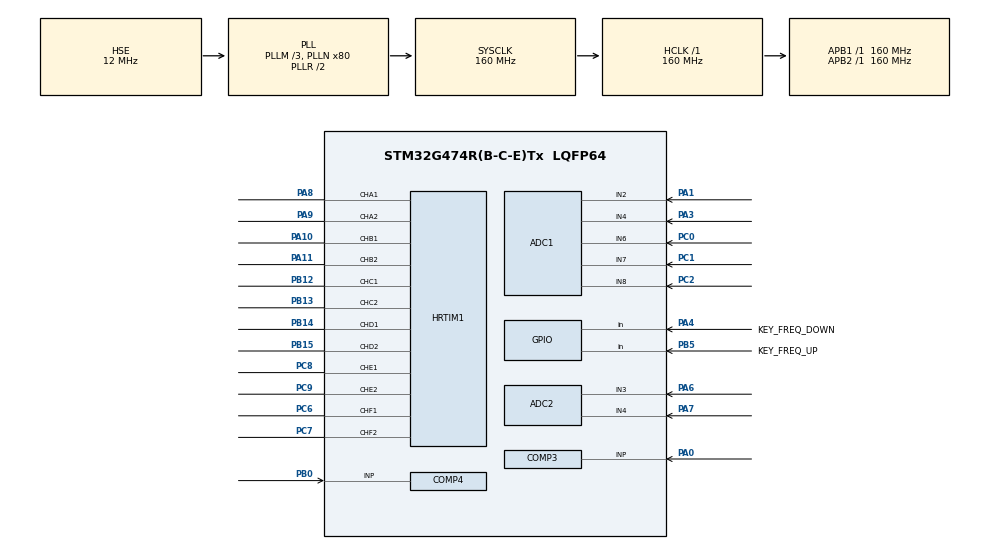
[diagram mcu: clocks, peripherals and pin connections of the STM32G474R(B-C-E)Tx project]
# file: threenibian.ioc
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ADC1.AWD1HighThreshold=4095
ADC1.AWD1ITMode=ENABLE
ADC1.AWD1LowThreshold=0
ADC1.Channel-12\#ChannelRegularConversion=ADC_CHANNEL_6
ADC1.Channel-13\#ChannelRegularConversion=ADC_CHANNEL_7
ADC1.Channel-15\#ChannelRegularConversion=ADC_CHANNEL_4
ADC1.Channel-16\#ChannelRegularConversion=ADC_CHANNEL_8
ADC1.Channel-17\#ChannelRegularConversion=ADC_CHANNEL_2
ADC1.Channel-9\#ChannelRegularConversion=ADC_CHANNEL_6
ADC1.DMAContinuousRequests=ENABLE
ADC1.EnableAnalogWatchDog1=true
ADC1.EnableAnalogWatchDog2=false
ADC1.EnableAnalogWatchDog3=false
ADC1.EnableRegularConversion=ENABLE
ADC1.ExternalTrigConv=ADC_EXTERNALTRIG_HRTIM_TRG1
ADC1.NbrOfConversion=6
ADC1.NbrOfConversionFlag=1
ADC1.OffsetNumber-12\#ChannelRegularConversion=ADC_OFFSET_NONE
ADC1.OffsetNumber-13\#ChannelRegularConversion=ADC_OFFSET_NONE
ADC1.OffsetNumber-15\#ChannelRegularConversion=ADC_OFFSET_NONE
ADC1.OffsetNumber-16\#ChannelRegularConversion=ADC_OFFSET_NONE
ADC1.OffsetNumber-17\#ChannelRegularConversion=ADC_OFFSET_NONE
ADC1.OffsetNumber-9\#ChannelRegularConversion=ADC_OFFSET_NONE
ADC1.Rank-12\#ChannelRegularConversion=4
ADC1.Rank-13\#ChannelRegularConversion=5
ADC1.Rank-15\#ChannelRegularConversion=1
ADC1.Rank-16\#ChannelRegularConversion=2
ADC1.Rank-17\#ChannelRegularConversion=3
ADC1.Rank-9\#ChannelRegularConversion=6
ADC1.SamplingTime-12\#ChannelRegularConversion=ADC_SAMPLETIME_47CYCLES_5
ADC1.SamplingTime-13\#ChannelRegularConversion=ADC_SAMPLETIME_47CYCLES_5
ADC1.SamplingTime-15\#ChannelRegularConversion=ADC_SAMPLETIME_47CYCLES_5
ADC1.SamplingTime-16\#ChannelRegularConversion=ADC_SAMPLETIME_47CYCLES_5
ADC1.SamplingTime-17\#ChannelRegularConversion=ADC_SAMPLETIME_47CYCLES_5
ADC1.SamplingTime-9\#ChannelRegularConversion=ADC_SAMPLETIME_47CYCLES_5
ADC1.WatchdogChannel=ADC_CHANNEL_4
ADC1.WatchdogMode=ADC_ANALOGWATCHDOG_SINGLE_REG
ADC1.master=1
ADC2.AWD1HighThreshold=4095
ADC2.AWD1ITMode=ENABLE
ADC2.AWD1LowThreshold=0
ADC2.Channel-2\#ChannelRegularConversion=ADC_CHANNEL_3
ADC2.Channel-3\#ChannelRegularConversion=ADC_CHANNEL_4
ADC2.DMAContinuousRequests=ENABLE
ADC2.EnableAnalogWatchDog1=true
ADC2.EnableAnalogWatchDog2=false
ADC2.EnableRegularConversion=ENABLE
ADC2.ExternalTrigConv=ADC_EXTERNALTRIG_HRTIM_TRG1
ADC2.NbrOfConversion=2
ADC2.NbrOfConversionFlag=1
ADC2.OffsetNumber-2\#ChannelRegularConversion=ADC_OFFSET_NONE
ADC2.OffsetNumber-3\#ChannelRegularConversion=ADC_OFFSET_NONE
ADC2.Rank-2\#ChannelRegularConversion=1
ADC2.Rank-3\#ChannelRegularConversion=2
ADC2.SamplingTime-2\#ChannelRegularConversion=ADC_SAMPLETIME_47CYCLES_5
ADC2.SamplingTime-3\#ChannelRegularConversion=ADC_SAMPLETIME_47CYCLES_5
ADC2.WatchdogMode=ADC_ANALOGWATCHDOG_ALL_REG
DAC1.DAC_SampleAndHold-DAC_OUT1_Int=DAC_SAMPLEANDHOLD_DISABLE
Dma.ADC1.0.Direction=DMA_PERIPH_TO_MEMORY
Dma.ADC1.0.EventEnable=DISABLE
Dma.ADC1.0.Instance=DMA1_Channel3
Dma.ADC1.0.MemDataAlignment=DMA_MDATAALIGN_HALFWORD
Dma.ADC1.0.MemInc=DMA_MINC_ENABLE
Dma.ADC1.0.Mode=DMA_CIRCULAR
Dma.ADC1.0.PeriphDataAlignment=DMA_PDATAALIGN_HALFWORD
Dma.ADC1.0.PeriphInc=DMA_PINC_DISABLE
Dma.ADC1.0.Polarity=HAL_DMAMUX_REQ_GEN_RISING
Dma.ADC1.0.Priority=DMA_PRIORITY_LOW
Dma.ADC1.0.RequestNumber=1
Dma.ADC1.0.SignalID=NONE
Dma.ADC1.0.SyncEnable=DISABLE
Dma.ADC1.0.SyncPolarity=HAL_DMAMUX_SYNC_NO_EVENT
Dma.ADC1.0.SyncRequestNumber=1
Dma.ADC1.0.SyncSignalID=NONE
Dma.ADC2.1.Direction=DMA_PERIPH_TO_MEMORY
Dma.ADC2.1.EventEnable=DISABLE
Dma.ADC2.1.Instance=DMA1_Channel4
Dma.ADC2.1.MemDataAlignment=DMA_MDATAALIGN_HALFWORD
Dma.ADC2.1.MemInc=DMA_MINC_ENABLE
Dma.ADC2.1.Mode=DMA_CIRCULAR
Dma.ADC2.1.PeriphDataAlignment=DMA_PDATAALIGN_HALFWORD
Dma.ADC2.1.PeriphInc=DMA_PINC_DISABLE
Dma.ADC2.1.Polarity=HAL_DMAMUX_REQ_GEN_RISING
Dma.ADC2.1.Priority=DMA_PRIORITY_LOW
Dma.ADC2.1.RequestNumber=1
Dma.ADC2.1.SignalID=NONE
Dma.ADC2.1.SyncEnable=DISABLE
Dma.ADC2.1.SyncPolarity=HAL_DMAMUX_SYNC_NO_EVENT
Dma.ADC2.1.SyncRequestNumber=1
Dma.ADC2.1.SyncSignalID=NONE
Dma.Request0=ADC1
Dma.Request1=ADC2
HRTIM1.ADCTrigger1_Source1=HRTIM_ADCTRIGGEREVENT13_TIMERF_RESET
HRTIM1.ADCTrigger_Id1=HRTIM_ADCTRIGGER_1
HRTIM1.CompareUnit1-MasterTimer=HRTIM_COMPAREUNIT_1
HRTIM1.CompareUnit1-Output_TA1TA2=HRTIM_COMPAREUNIT_1
HRTIM1.CompareUnit1-Output_TB1TB2=HRTIM_COMPAREUNIT_1
HRTIM1.CompareUnit1-Output_TC1TC2=HRTIM_COMPAREUNIT_1
HRTIM1.CompareUnit1-Output_TD1TD2=HRTIM_COMPAREUNIT_1
HRTIM1.CompareUnit1-Output_TE1TE2=HRTIM_COMPAREUNIT_1
HRTIM1.CompareUnit1-Output_TF1TF2=HRTIM_COMPAREUNIT_1
HRTIM1.CompareUnit2-MasterTimer=HRTIM_COMPAREUNIT_2
HRTIM1.CompareUnit3-MasterTimer=HRTIM_COMPAREUNIT_3
HRTIM1.CompareUnit4-MasterTimer=HRTIM_COMPAREUNIT_4
HRTIM1.CompareUnit4-Output_TE1TE2=__NULL
HRTIM1.CompareValue1-MasterTimer=17800
HRTIM1.CompareValue1-Output_TA1TA2=8000
HRTIM1.CompareValue1-Output_TB1TB2=8000
HRTIM1.CompareValue1-Output_TC1TC2=8000
HRTIM1.CompareValue1-Output_TD1TD2=8000
HRTIM1.CompareValue1-Output_TE1TE2=12800
HRTIM1.CompareValue1-Output_TF1TF2=12800
HRTIM1.CompareValue2-MasterTimer=15800
HRTIM1.CompareValue3-MasterTimer=22000
HRTIM1.CompareValue4-MasterTimer=28000
HRTIM1.DeadTimeInsertion-Output_TA1TA2=HRTIM_TIMDEADTIMEINSERTION_ENABLED
HRTIM1.DeadTimeInsertion-Output_TB1TB2=HRTIM_TIMDEADTIMEINSERTION_ENABLED
HRTIM1.DeadTimeInsertion-Output_TC1TC2=HRTIM_TIMDEADTIMEINSERTION_ENABLED
HRTIM1.DeadTimeInsertion-Output_TD1TD2=HRTIM_TIMDEADTIMEINSERTION_ENABLED
HRTIM1.DeadTimeInsertion-Output_TE1TE2=HRTIM_TIMDEADTIMEINSERTION_ENABLED
HRTIM1.DeadTimeInsertion-Output_TF1TF2=HRTIM_TIMDEADTIMEINSERTION_ENABLED
HRTIM1.Deadtimeconfig-Output_TA1TA2=HRTIM_TIMERINDEX_TIMER_A
HRTIM1.FallingValue-Output_TA1TA2=192
HRTIM1.FallingValue-Output_TB1TB2=192
HRTIM1.FallingValue-Output_TC1TC2=192
HRTIM1.FallingValue-Output_TD1TD2=150
HRTIM1.FallingValue-Output_TE1TE2=192
HRTIM1.FallingValue-Output_TF1TF2=192
HRTIM1.FaultEnable_Source1-Output_TA1TA2=HRTIM_TIMFAULTENABLE_NONE
HRTIM1.Fault_Line1=HRTIM_FAULT_1
HRTIM1.Fault_Line2=__NULL
HRTIM1.HRTIMInterruptResquests1=HRTIM_IT_SYSFLT
HRTIM1.NumberADCTriggerSource1=1
HRTIM1.NumberFaultEnable-Output_TA1TA2=2
HRTIM1.NumberResetSource1-Output_TA1TA2=1
HRTIM1.NumberResetSource1-Output_TB1TB2=1
HRTIM1.NumberResetSource1-Output_TC1TC2=1
HRTIM1.NumberResetSource1-Output_TD1TD2=1
HRTIM1.NumberResetSource1-Output_TE1TE2=1
HRTIM1.NumberResetSource1-Output_TF1TF2=1
HRTIM1.NumberResetSource2_TA=0
HRTIM1.NumberResetSource2_TB=0
HRTIM1.NumberResetSource2_TE=0
HRTIM1.NumberResetTrigger-Output_TA1TA2=1
HRTIM1.NumberResetTrigger-Output_TB1TB2=1
HRTIM1.NumberResetTrigger-Output_TC1TC2=1
HRTIM1.NumberSetSource1-Output_TA1TA2=1
HRTIM1.NumberSetSource1-Output_TB1TB2=1
HRTIM1.NumberSetSource1-Output_TC1TC2=1
HRTIM1.NumberSetSource1-Output_TD1TD2=1
HRTIM1.NumberSetSource1-Output_TE1TE2=1
HRTIM1.NumberSetSource1-Output_TF1TF2=1
HRTIM1.NumberSetSource2_TA=0
HRTIM1.NumberSetSource2_TB=0
HRTIM1.NumberSetSource2_TE=0
HRTIM1.NumberUpdateTrigger-Output_TA1TA2=1
HRTIM1.NumberUpdateTrigger-Output_TB1TB2=1
HRTIM1.NumberUpdateTrigger-Output_TC1TC2=1
HRTIM1.NumberUpdateTrigger-Output_TD1TD2=1
HRTIM1.NumberUpdateTrigger-Output_TE1TE2=1
HRTIM1.NumberUpdateTrigger-Output_TF1TF2=1
HRTIM1.Periode_MASTER=32000
HRTIM1.Periode_TA=16000
HRTIM1.Periode_TB=16000
HRTIM1.Periode_TC=16000
HRTIM1.Periode_TD=16000
HRTIM1.Periode_TE=16000
HRTIM1.Periode_TF=16000
HRTIM1.Polarity2-Output_TE1TE2=HRTIM_OUTPUTPOLARITY_HIGH
HRTIM1.PreloadEnable-MasterTimer=HRTIM_PRELOAD_ENABLED
HRTIM1.PreloadEnable-Output_TA1TA2=HRTIM_PRELOAD_ENABLED
HRTIM1.PreloadEnable-Output_TB1TB2=HRTIM_PRELOAD_ENABLED
HRTIM1.PreloadEnable-Output_TC1TC2=HRTIM_PRELOAD_ENABLED
HRTIM1.PreloadEnable-Output_TD1TD2=HRTIM_PRELOAD_ENABLED
HRTIM1.PreloadEnable-Output_TE1TE2=HRTIM_PRELOAD_ENABLED
HRTIM1.PreloadEnable-Output_TF1TF2=HRTIM_PRELOAD_ENABLED
HRTIM1.PrescalerDead-Output_TA1TA2=HRTIM_TIMDEADTIME_PRESCALERRATIO_MUL4
HRTIM1.PrescalerDead-Output_TB1TB2=HRTIM_TIMDEADTIME_PRESCALERRATIO_MUL4
HRTIM1.PrescalerDead-Output_TC1TC2=HRTIM_TIMDEADTIME_PRESCALERRATIO_MUL4
HRTIM1.PrescalerDead-Output_TD1TD2=HRTIM_TIMDEADTIME_PRESCALERRATIO_MUL4
HRTIM1.PrescalerDead-Output_TE1TE2=HRTIM_TIMDEADTIME_PRESCALERRATIO_MUL4
HRTIM1.PrescalerDead-Output_TF1TF2=HRTIM_TIMDEADTIME_PRESCALERRATIO_MUL4
HRTIM1.PrescalerRatio_MASTER=HRTIM_PRESCALERRATIO_MUL4
HRTIM1.PrescalerRatio_TA=HRTIM_PRESCALERRATIO_MUL4
HRTIM1.PrescalerRatio_TB=HRTIM_PRESCALERRATIO_MUL4
HRTIM1.PrescalerRatio_TC=HRTIM_PRESCALERRATIO_MUL4
HRTIM1.PrescalerRatio_TD=HRTIM_PRESCALERRATIO_MUL4
HRTIM1.PrescalerRatio_TE=HRTIM_PRESCALERRATIO_MUL4
HRTIM1.PrescalerRatio_TF=HRTIM_PRESCALERRATIO_MUL4
HRTIM1.RepetitionCounter-MasterTimer=0
HRTIM1.RepetitionUpdate-MasterTimer=HRTIM_UPDATEONREPETITION_ENABLED
HRTIM1.RepetitionUpdate-Output_TA1TA2=HRTIM_UPDATEONREPETITION_ENABLED
HRTIM1.RepetitionUpdate-Output_TB1TB2=HRTIM_UPDATEONREPETITION_ENABLED
HRTIM1.RepetitionUpdate-Output_TC1TC2=HRTIM_UPDATEONREPETITION_ENABLED
HRTIM1.ResetOutput1_Source1-Output_TA1TA2=HRTIM_OUTPUTRESET_TIMCMP1
HRTIM1.ResetOutput1_Source1-Output_TB1TB2=HRTIM_OUTPUTRESET_TIMCMP1
HRTIM1.ResetOutput1_Source1-Output_TC1TC2=HRTIM_OUTPUTRESET_TIMCMP1
HRTIM1.ResetOutput1_Source1-Output_TD1TD2=HRTIM_OUTPUTRESET_TIMCMP1
HRTIM1.ResetOutput1_Source1-Output_TE1TE2=HRTIM_OUTPUTRESET_TIMCMP1
HRTIM1.ResetOutput1_Source1-Output_TF1TF2=HRTIM_OUTPUTRESET_TIMCMP1
HRTIM1.ResetTrigger1-Output_TA1TA2=HRTIM_TIMRESETTRIGGER_MASTER_PER
HRTIM1.ResetTrigger1-Output_TB1TB2=HRTIM_TIMRESETTRIGGER_MASTER_PER
HRTIM1.ResetTrigger1-Output_TC1TC2=HRTIM_TIMRESETTRIGGER_MASTER_PER
HRTIM1.RisingValue-Output_TA1TA2=192
HRTIM1.RisingValue-Output_TB1TB2=192
HRTIM1.RisingValue-Output_TC1TC2=192
HRTIM1.RisingValue-Output_TD1TD2=150
HRTIM1.RisingValue-Output_TE1TE2=192
HRTIM1.RisingValue-Output_TF1TF2=192
HRTIM1.SetOutput1_Source1-Output_TA1TA2=HRTIM_OUTPUTSET_TIMCMP1
HRTIM1.SetOutput1_Source1-Output_TB1TB2=HRTIM_OUTPUTSET_TIMCMP1
HRTIM1.SetOutput1_Source1-Output_TC1TC2=HRTIM_OUTPUTSET_TIMCMP1
HRTIM1.SetOutput1_Source1-Output_TD1TD2=HRTIM_OUTPUTSET_TIMCMP1
HRTIM1.SetOutput1_Source1-Output_TE1TE2=HRTIM_OUTPUTSET_TIMCMP1
HRTIM1.SetOutput1_Source1-Output_TF1TF2=HRTIM_OUTPUTSET_TIMCMP1
HRTIM1.UpDownMode-Output_TA1TA2=HRTIM_TIMERUPDOWNMODE_UPDOWN
HRTIM1.UpDownMode-Output_TB1TB2=HRTIM_TIMERUPDOWNMODE_UPDOWN
HRTIM1.UpDownMode-Output_TC1TC2=HRTIM_TIMERUPDOWNMODE_UPDOWN
HRTIM1.UpDownMode-Output_TD1TD2=HRTIM_TIMERUPDOWNMODE_UPDOWN
HRTIM1.UpDownMode-Output_TE1TE2=HRTIM_TIMERUPDOWNMODE_UPDOWN
HRTIM1.UpDownMode-Output_TF1TF2=HRTIM_TIMERUPDOWNMODE_UPDOWN
HRTIM1.UpdateTrigger1-Output_TA1TA2=HRTIM_TIMUPDATETRIGGER_MASTER
HRTIM1.UpdateTrigger1-Output_TB1TB2=HRTIM_TIMUPDATETRIGGER_MASTER
HRTIM1.UpdateTrigger1-Output_TC1TC2=HRTIM_TIMUPDATETRIGGER_MASTER
HRTIM1.UpdateTrigger1-Output_TD1TD2=HRTIM_TIMUPDATETRIGGER_MASTER
HRTIM1.UpdateTrigger1-Output_TE1TE2=HRTIM_TIMUPDATETRIGGER_MASTER
HRTIM1.UpdateTrigger1-Output_TF1TF2=HRTIM_TIMUPDATETRIGGER_MASTER
Mcu.Family=STM32G4
Mcu.Name=STM32G474R(B-C-E)Tx
Mcu.Package=LQFP64
NVIC.ADC1_2_IRQn=true\:0\:0\:false\:false\:true\:true\:true\:true
NVIC.DMA1_Channel3_IRQn=true\:1\:0\:false\:false\:true\:false\:true\:true
NVIC.PriorityGroup=NVIC_PRIORITYGROUP_4
NVIC.TIM1_BRK_TIM15_IRQn=true\:0\:0\:false\:false\:true\:true\:true\:true
NVIC.TIM2_IRQn=true\:15\:0\:false\:false\:true\:false\:true\:true
NVIC.TimeBase=TIM2_IRQn
NVIC.TimeBaseIP=TIM2
PA0.Signal=SharedAnalog_PA0
PA1.Mode=IN2-Single-Ended
PA1.Signal=ADC1_IN2
PA10.Mode=Output_TB1TB2
PA10.Signal=HRTIM1_CHB1
PA11.Mode=Output_TB1TB2
PA11.Signal=HRTIM1_CHB2
PA3.Mode=IN4-Single-Ended
PA3.Signal=ADC1_IN4
PA4.GPIO_Label=KEY_FREQ_DOWN
PA4.GPIO_PuPd=GPIO_PULLUP
PA4.Signal=GPIO_Input
PA6.Mode=IN3-Single-Ended
PA6.Signal=ADC2_IN3
PA7.Mode=IN4-Single-Ended
PA7.Signal=ADC2_IN4
PA8.Mode=Output_TA1TA2
PA8.Signal=HRTIM1_CHA1
PA9.Mode=Output_TA1TA2
PA9.Signal=HRTIM1_CHA2
PB0.Signal=SharedAnalog_PB0
PB12.Mode=Output_TC1TC2
PB12.Signal=HRTIM1_CHC1
PB13.Mode=Output_TC1TC2
PB13.Signal=HRTIM1_CHC2
PB14.Mode=Output_TD1TD2
PB14.Signal=HRTIM1_CHD1
PB15.Mode=Output_TD1TD2
PB15.Signal=HRTIM1_CHD2
PB5.GPIO_Label=KEY_FREQ_UP
PB5.GPIO_PuPd=GPIO_PULLUP
PB5.Signal=GPIO_Input
PC0.Mode=IN6-Single-Ended
PC0.Signal=ADC1_IN6
PC1.Mode=IN7-Single-Ended
PC1.Signal=ADC1_IN7
PC14-OSC32_IN.Mode=LSE-External-Oscillator
PC14-OSC32_IN.Signal=RCC_OSC32_IN
PC15-OSC32_OUT.Mode=LSE-External-Oscillator
PC15-OSC32_OUT.Signal=RCC_OSC32_OUT
PC2.Mode=IN8-Single-Ended
PC2.Signal=ADC1_IN8
PC6.Mode=Output_TF1TF2
PC6.Signal=HRTIM1_CHF1
PC7.Mode=Output_TF1TF2
PC7.Signal=HRTIM1_CHF2
PC8.Mode=Output_TE1TE2
PC8.Signal=HRTIM1_CHE1
PC9.Mode=Output_TE1TE2
PC9.Signal=HRTIM1_CHE2
PF0-OSC_IN.Mode=HSE-External-Oscillator
PF0-OSC_IN.Signal=RCC_OSC_IN
PF1-OSC_OUT.Mode=HSE-External-Oscillator
PF1-OSC_OUT.Signal=RCC_OSC_OUT
ProjectManager.HeapSize=0x200
ProjectManager.StackSize=0x400
ProjectManager.TargetToolchain=CMake
RCC.ADC12Freq_Value=160000000
RCC.ADC345Freq_Value=160000000
RCC.AHBFreq_Value=160000000
RCC.APB1Freq_Value=160000000
RCC.APB1TimFreq_Value=160000000
RCC.APB2Freq_Value=160000000
RCC.APB2TimFreq_Value=160000000
RCC.CortexFreq_Value=160000000
RCC.EXTERNAL_CLOCK_VALUE=12288000
RCC.HCLKFreq_Value=160000000
RCC.HSE_VALUE=12000000
RCC.HSI48_VALUE=48000000
RCC.HSI_VALUE=16000000
RCC.PLLM=RCC_PLLM_DIV3
RCC.PLLN=80
RCC.PLLSourceVirtual=RCC_PLLSOURCE_HSE
RCC.SYSCLKFreq_VALUE=160000000
RCC.SYSCLKSource=RCC_SYSCLKSOURCE_PLLCLK
RCC.USBFreq_Value=160000000
RCC.VCOOutputFreq_Value=320000000
SH.SharedAnalog_PA0.0=COMP3_INP,INP
SH.SharedAnalog_PB0.0=COMP4_INP,INP
STMicroelectronics.X-CUBE-ALGOBUILD.1.3.0.LibraryCcDSPOoLibraryJjDSPOoLibrary=true
TIM1.PeriodNoDither=1000
TIM1.Prescaler=8
VP_COMP3_VS_DAC1OUT1.Mode=INM_DAC1OUT1
VP_COMP4_VS_VREFINT34.Mode=VREFINT_34
VP_CORDIC_VS_CORDIC.Mode=CORDIC_Activate
VP_DAC1_VS_DACI1.Mode=DAC_OUT1_Int
VP_DAC2_VS_DACI1.Mode=DAC_OUT1_Int
VP_DAC3_VS_DACI1.Mode=DAC_OUT1_Int
VP_HRTIM1_VS_hrtimMasterTimerNoOutput.Mode=MasterTimer
VP_STMicroelectronics.X-CUBE-ALGOBUILD_VS_DSPOoLibraryJjLibrary_1.3.0_1.3.0.Mode=DSPOoLibraryJjLibrary
VP_SYS_VS_DBSignals.Mode=DisableDeadBatterySignals
VP_SYS_VS_tim2.Mode=TIM2
VP_SYS_V_VREFBUF.Mode=VREFBUFOFFMode
VP_TIM1_VS_ClockSourceINT.Mode=Internal
board=custom

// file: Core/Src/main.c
/* USER CODE BEGIN Header */
/**
  ******************************************************************************
  * @file           : main.c
  * @brief          : Main program body
  ******************************************************************************
  * @attention
  *
  * Copyright (c) 2026 STMicroelectronics.
  * All rights reserved.
  *
  * This software is licensed under terms that can be found in the LICENSE file
  * in the root directory of this software component.
  * If no LICENSE file comes with this software, it is provided AS-IS.
  *
  ******************************************************************************
  */
/* USER CODE END Header */
#include "main.h"
#include "adc.h"
#include "comp.h"
#include "cordic.h"
#include "dac.h"
#include "dma.h"
#include "hrtim.h"
#include "tim.h"
#include "gpio.h"

/* USER CODE BEGIN Includes */
#include <math.h>

#include "pfc_adc.h"
#include "pfc_app.h"
#include "inverter_adc.h"
#include "inverter_adc_watchdog.h"
#include "inverter_control.h"
/* USER CODE END Includes */

void SystemClock_Config(void);

/* USER CODE BEGIN 0 */
float Average_Update(float new_value)
{
  static uint64_t sample_count = 0U;
  static double average = 0.0;

  sample_count++;

  average += ((double)new_value - average) /
             (double)sample_count;

  return (float)average;
}
float GetVoltageRms(float voltage_v)
{
  static float sum = 0.0f;
  static float rms = 0.0f;
  static uint16_t count = 0U;

  sum += voltage_v * voltage_v;
  count++;

  if (count >= 400U) {
    rms = sqrtf(sum / 400.0f);
    sum = 0.0f;
    count = 0U;
  }

  return rms;
}
float input_voltage_rms_test;
float average_value_v = 0.0f;
float average_value_i = 0.0f;

/**
 * @brief 逆变输出频率切换状态
 */
typedef enum
{
    INVERTER_FREQ_SWITCH_IDLE = 0U,
    INVERTER_FREQ_SWITCH_WAIT_STOP
} Inverter_FrequencySwitchStateTypeDef;

/** 最近一次频率切换执行结果，供调试器观察。 */
volatile HAL_StatusTypeDef
    inverter_frequency_switch_status = HAL_OK;

/**
 * @brief          检测PA4按键是否产生一次有效按下
 * @note           PA4内部上拉，按键另一端接GND，低电平表示按下。
 * @retval         1 检测到一次新的按下
 * @retval         0 没有新的按下
 */
static uint8_t KEY_FrequencyToggle_IsPressed(void)
{
    static GPIO_PinState last_raw_state = GPIO_PIN_SET;
    static GPIO_PinState stable_state = GPIO_PIN_SET;
    static uint32_t debounce_start_tick = 0U;
    GPIO_PinState current_state;

    current_state = HAL_GPIO_ReadPin(
        KEY_FREQ_DOWN_GPIO_Port,
        KEY_FREQ_DOWN_Pin);

    if (current_state != last_raw_state) {
        last_raw_state = current_state;
        debounce_start_tick = HAL_GetTick();
    }

    if ((HAL_GetTick() - debounce_start_tick) >= 20U) {
        if (current_state != stable_state) {
            stable_state = current_state;

            if (stable_state == GPIO_PIN_RESET) {
                return 1U;
            }
        }
    }

    return 0U;
}

/* USER CODE END 0 */

int main(void)
{

  /* MCU Configuration--------------------------------------------------------*/

  /* Reset of all peripherals, Initializes the Flash interface and the Systick. */
  HAL_Init();

  /* Configure the system clock */
  SystemClock_Config();

  /* Initialize all configured peripherals */
  MX_GPIO_Init();
  MX_DMA_Init();
  MX_ADC2_Init();
  MX_HRTIM1_Init();
  MX_COMP3_Init();
  MX_DAC1_Init();
  MX_ADC1_Init();
  MX_COMP4_Init();
  MX_DAC2_Init();
  MX_DAC3_Init();
  MX_TIM1_Init();
  MX_CORDIC_Init();
  /* USER CODE BEGIN 2 */
  HAL_Delay(2000);

  /* 任何ADC采样和校准开始前，先强制关闭三相逆变六路功率输出。 */
  Inverter_DPWM_Disable();

  if (Inverter_App_Init(pfc_adc_state.dma.sample) != HAL_OK) {
    Error_Handler();
  }

   /*
    * 只启动ADC1 DMA和HRTIM采样时基。
    * PFC控制器、PFC启动请求以及全部功率输出此时均未启用。
    */
   if (PFC_App_StartSamplingForCalibration() != HAL_OK) {
     (void)Inverter_ADC_Stop();
     Error_Handler();
   }

   /* 只在本次上电启动阶段校准v1、v2、a1、a2四路零点。 */
   if (Inverter_ADC_WaitForZeroCalibration(
           INVERTER_ADC_ZERO_CALIB_TIMEOUT_MS) != HAL_OK) {
     (void)PFC_ADC_Stop();
     (void)Inverter_ADC_Stop();
     Error_Handler();
   }

   /* 停止ADC2后写入a1、a2动态保护阈值，再恢复采样和看门狗。 */
   if (Inverter_ADC_Stop() != HAL_OK) {
     (void)PFC_ADC_Stop();
     Error_Handler();
   }

   if (Inverter_ADC_Watchdog_Init() != HAL_OK) {
     (void)PFC_ADC_Stop();
     Error_Handler();
   }

   if (Inverter_ADC_Start() != HAL_OK) {
     (void)PFC_ADC_Stop();
     Error_Handler();
   }

   /* 四路校准及逆变保护完成后，才正式初始化PFC。 */
   if (PFC_App_Init() != HAL_OK) {
     (void)PFC_ADC_Stop();
     (void)Inverter_ADC_Stop();
     Error_Handler();
   }

   if (Inverter_Control_Init() != HAL_OK) {
     (void)Inverter_ADC_Stop();
     Error_Handler();
   }

  /* USER CODE END 2 */

  /* Infinite loop */
  while (1)
  {

    /* USER CODE BEGIN 3 */

    // average_value_i = Average_Update(inverter_adc_state.measurement.current_2_a );
    // average_value_v = Average_Update(input_voltage_rms_test);
    PFC_App_Loop();
      if (KEY_FrequencyToggle_IsPressed() != 0U) {
          Inverter_Control_RequestFrequencyToggle();
      }
    Inverter_Control_Service(pfc_adc_state.measurement.bus_voltage_v);
    // input_voltage_rms_test = GetVoltageRms(inverter_adc_state.measurement.voltage_2_v);
    average_value_v = Average_Update(inverter_control_state.line_voltage_ab_rms_v);

  }
  /* USER CODE END 3 */
}

void SystemClock_Config(void)
{
  RCC_OscInitTypeDef RCC_OscInitStruct = {0};
  RCC_ClkInitTypeDef RCC_ClkInitStruct = {0};

  /** Configure the main internal regulator output voltage
  */
  HAL_PWREx_ControlVoltageScaling(PWR_REGULATOR_VOLTAGE_SCALE1_BOOST);

  /** Initializes the RCC Oscillators according to the specified parameters
  * in the RCC_OscInitTypeDef structure.
  */
  RCC_OscInitStruct.OscillatorType = RCC_OSCILLATORTYPE_HSE;
  RCC_OscInitStruct.HSEState = RCC_HSE_ON;
  RCC_OscInitStruct.PLL.PLLState = RCC_PLL_ON;
  RCC_OscInitStruct.PLL.PLLSource = RCC_PLLSOURCE_HSE;
  RCC_OscInitStruct.PLL.PLLM = RCC_PLLM_DIV3;
  RCC_OscInitStruct.PLL.PLLN = 80;
  RCC_OscInitStruct.PLL.PLLP = RCC_PLLP_DIV2;
  RCC_OscInitStruct.PLL.PLLQ = RCC_PLLQ_DIV2;
  RCC_OscInitStruct.PLL.PLLR = RCC_PLLR_DIV2;
  if (HAL_RCC_OscConfig(&RCC_OscInitStruct) != HAL_OK)
  {
    Error_Handler();
  }

  /** Initializes the CPU, AHB and APB buses clocks
  */
  RCC_ClkInitStruct.ClockType = RCC_CLOCKTYPE_HCLK|RCC_CLOCKTYPE_SYSCLK
                              |RCC_CLOCKTYPE_PCLK1|RCC_CLOCKTYPE_PCLK2;
  RCC_ClkInitStruct.SYSCLKSource = RCC_SYSCLKSOURCE_PLLCLK;
  RCC_ClkInitStruct.AHBCLKDivider = RCC_SYSCLK_DIV1;
  RCC_ClkInitStruct.APB1CLKDivider = RCC_HCLK_DIV1;
  RCC_ClkInitStruct.APB2CLKDivider = RCC_HCLK_DIV1;

  if (HAL_RCC_ClockConfig(&RCC_ClkInitStruct, FLASH_LATENCY_4) != HAL_OK)
  {
    Error_Handler();
  }
}

void HAL_TIM_PeriodElapsedCallback(TIM_HandleTypeDef *htim)
{
  if (htim->Instance == TIM2)
  {
    HAL_IncTick();
  }
}

void Error_Handler(void)
{
  __disable_irq();
  while (1)
  {
  }
}
